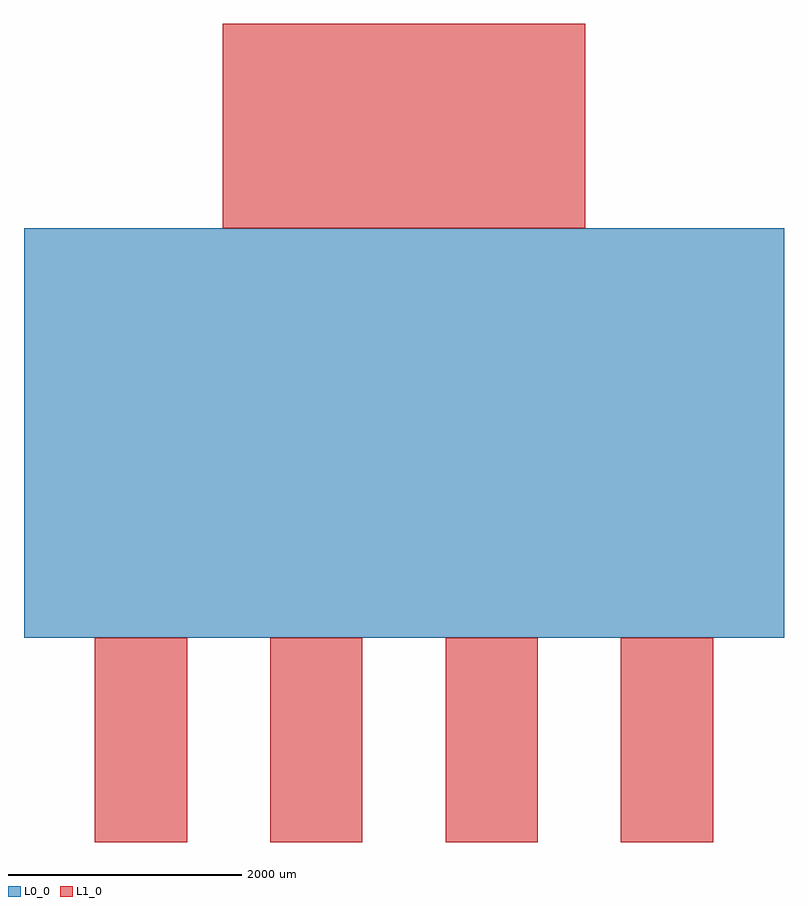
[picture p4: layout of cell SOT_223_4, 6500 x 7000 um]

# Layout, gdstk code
import gdstk
lib = gdstk.Library(unit=1e-6, precision=1e-09)
def R(c, l, rs):  # rectangles x0, y0, x1, y1
    for r in rs: c.add(gdstk.rectangle(r[:2], r[2:], *l))
def A(c, l, x, y, w, h, nx, ny, dx, dy):  # array of equal rectangles
    R(c, l, [(x+i*dx, y+j*dy, x+i*dx+w, y+j*dy+h) for i in range(nx) for j in range(ny)])
L0_0 = (0, 0)
L1_0 = (1, 0)
L99_2 = (99, 2)
L99_3 = (99, 3)
L99_4 = (99, 4)
L99_5 = (99, 5)

sot_223_4 = lib.new_cell('SOT_223_4')
R(sot_223_4, L0_0, [(0,0,6500,3500)])
A(sot_223_4, L1_0, 605, -1750, 790, 1750, 4, 1, 1500, 0)
R(sot_223_4, L1_0, [(1700,3500,4800,5250)])
sot_223_4.add(gdstk.FlexPath([(1700,3500),(4800,3500)], 0, ends="round", simple_path=True, layer=99, datatype=5))  # L99_5
sot_223_4.add(gdstk.FlexPath([(1395,0),(605,0)], 0, ends="round", simple_path=True, layer=99, datatype=2))  # L99_2
sot_223_4.add(gdstk.FlexPath([(2895,0),(2105,0)], 0, ends="round", simple_path=True, layer=99, datatype=3))  # L99_3
sot_223_4.add(gdstk.FlexPath([(4395,0),(3605,0)], 0, ends="round", simple_path=True, layer=99, datatype=4))  # L99_4
sot_223_4.add(gdstk.FlexPath([(5895,0),(5105,0)], 0, ends="round", simple_path=True, layer=99, datatype=4))  # L99_4

lib.write_gds('SOT_223_4.gds')
